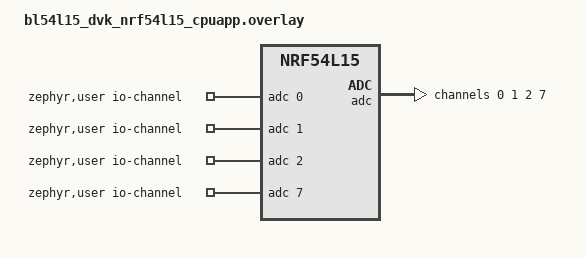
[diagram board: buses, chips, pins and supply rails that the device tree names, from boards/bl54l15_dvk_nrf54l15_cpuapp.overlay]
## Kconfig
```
# Copyright (c) 2024 Centro de Inovacao EDGE.
# SPDX-License-Identifier: Apache-2.0

config SEQUENCE_SAMPLES
	int "Number of samples to be made on the sequence for each channel."
	default 5

config SEQUENCE_RESOLUTION
	int "Set the resolution of the sequence readings."
	default 12

config SEQUENCE_32BITS_REGISTERS
	bool "ADC data sequences are on 32bits"

source "Kconfig.zephyr"
```

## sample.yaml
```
sample:
  name: ADC power shield sample
common:
  tags:
    - adc
  depends_on: adc
  filter: dt_alias_exists("adc0")
  harness: console
  timeout: 10
  harness_config:
    type: multi_line
    regex:
      - "ADC sequence reading \\[\\d+\\]:"
      - "- .+, channel \\d+, \\d+ sequence samples:"
      - "- - \\d+ (= \\d+mV)|(\\(value in mV not available\\))"
tests:
  sample.drivers.adc.adc_power_shield:
    integration_platforms:
      - nrf52840dk/nrf52840
  sample.drivers.adc.adc_power_shield.8bit:
    platform_allow:
      - nrf54h20dk/nrf54h20/cpuapp
      - nrf54l15dk/nrf54l15/cpuapp
      - nrf54lm20dk/nrf54lm20a/cpuapp
    integration_platforms:
      - nrf54l15dk/nrf54l15/cpuapp
    extra_configs:
      - CONFIG_SEQUENCE_RESOLUTION=8
```

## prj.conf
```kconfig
CONFIG_ADC=y
CONFIG_UART_CONSOLE=y
CONFIG_CONSOLE_SUBSYS=y
CONFIG_CONSOLE_GETCHAR=y
CONFIG_CONSOLE_GETCHAR_BUFSIZE=64
CONFIG_CONSOLE_PUTCHAR_BUFSIZE=512
```

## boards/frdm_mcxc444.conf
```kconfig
CONFIG_ADC_MCUX_ADC16_VREF_ALTERNATE=y
```

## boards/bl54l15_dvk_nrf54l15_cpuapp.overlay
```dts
/*
 * SPDX-License-Identifier: Apache-2.0
 *
 * Copyright (c) 2024 Nordic Semiconductor ASA
 * Copyright (c) 2025 Ezurio LLC
 */

/ {
	zephyr,user {
		io-channels = <&adc 0>, <&adc 1>, <&adc 2>, <&adc 7>;
	};
};

/ {
	aliases {
		adc0 = &adc;
	};
};

&adc {
	#address-cells = <1>;
	#size-cells = <0>;

	channel@0 {
		reg = <0>;
		zephyr,gain = "ADC_GAIN_1";
		zephyr,reference = "ADC_REF_INTERNAL";
		zephyr,acquisition-time = <ADC_ACQ_TIME_DEFAULT>;
		zephyr,input-positive = <NRF_SAADC_AIN4>; /* P1.11 */
		zephyr,resolution = <10>;
	};

	channel@1 {
		reg = <1>;
		zephyr,gain = "ADC_GAIN_1";
		zephyr,reference = "ADC_REF_INTERNAL";
		zephyr,acquisition-time = <ADC_ACQ_TIME_DEFAULT>;
		zephyr,input-positive = <NRF_SAADC_AIN2>; /* P1.06 */
		zephyr,resolution = <12>;
		zephyr,oversampling = <8>;
	};

	channel@2 {
		reg = <2>;
		zephyr,gain = "ADC_GAIN_1";
		zephyr,reference = "ADC_REF_INTERNAL";
		zephyr,acquisition-time = <ADC_ACQ_TIME_DEFAULT>;
		zephyr,input-positive = <NRF_SAADC_DVDD>; /* 0.9 V internal */
		zephyr,resolution = <12>;
		zephyr,oversampling = <8>;
	};

	channel@7 {
		reg = <7>;
		zephyr,gain = "ADC_GAIN_1";
		zephyr,reference = "ADC_REF_INTERNAL";
		zephyr,acquisition-time = <ADC_ACQ_TIME_DEFAULT>;
		zephyr,input-positive = <NRF_SAADC_AIN6>; /* P1.13 */
		zephyr,input-negative = <NRF_SAADC_AIN7>; /* P1.14 */
		zephyr,resolution = <12>;
	};
};
```

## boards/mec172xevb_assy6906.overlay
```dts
/*
 * Copyright (c) 2024 Centro de Inovacao EDGE
 *
 * SPDX-License-Identifier: Apache-2.0
 */

/ {
	aliases {
		adc0 = &adc0;
	};
};

&adc0 {
	#address-cells = <1>;
	#size-cells = <0>;

	channel@0 {
		reg = <0>;
		zephyr,gain = "ADC_GAIN_1";
		zephyr,reference = "ADC_REF_INTERNAL";
		zephyr,acquisition-time = <0>;
	};

	channel@3 {
		reg = <3>;
		zephyr,gain = "ADC_GAIN_1";
		zephyr,reference = "ADC_REF_INTERNAL";
		zephyr,acquisition-time = <0>;
	};
};
```

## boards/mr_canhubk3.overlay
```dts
/*
 * Copyright (c) 2024 Centro de Inovacao EDGE
 *
 * SPDX-License-Identifier: Apache-2.0
 */

#include <zephyr/dt-bindings/adc/adc.h>

/ {
	aliases {
		adc0 = &adc2;
	};
};

&adc2 {
	group-channel = "precision";
	status = "okay";
	#address-cells = <1>;
	#size-cells = <0>;

	channel@3 {
		reg = <3>;
		zephyr,gain = "ADC_GAIN_1";
		zephyr,reference = "ADC_REF_INTERNAL";
		zephyr,acquisition-time = <ADC_ACQ_TIME_DEFAULT>;
	};

	channel@4 {
		reg = <4>;
		zephyr,gain = "ADC_GAIN_1";
		zephyr,reference = "ADC_REF_INTERNAL";
		zephyr,acquisition-time = <ADC_ACQ_TIME_DEFAULT>;
	};
};
```

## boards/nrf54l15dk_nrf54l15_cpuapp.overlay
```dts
/*
 * SPDX-License-Identifier: Apache-2.0
 *
 * Copyright (c) 2024 Nordic Semiconductor ASA
 */

/ {
	aliases {
		adc0 = &adc;
	};
};

&adc {
	#address-cells = <1>;
	#size-cells = <0>;

	channel@0 {
		reg = <0>;
		zephyr,gain = "ADC_GAIN_1";
		zephyr,reference = "ADC_REF_INTERNAL";
		zephyr,acquisition-time = <ADC_ACQ_TIME_DEFAULT>;
		zephyr,input-positive = <NRF_SAADC_AIN4>; /* P1.11 */
	};

	channel@1 {
		reg = <1>;
		zephyr,gain = "ADC_GAIN_1";
		zephyr,reference = "ADC_REF_INTERNAL";
		zephyr,acquisition-time = <ADC_ACQ_TIME_DEFAULT>;
		zephyr,input-positive = <NRF_SAADC_AIN2>; /* P1.06 */
	};

	channel@2 {
		reg = <2>;
		zephyr,gain = "ADC_GAIN_1";
		zephyr,reference = "ADC_REF_INTERNAL";
		zephyr,acquisition-time = <ADC_ACQ_TIME_DEFAULT>;
		zephyr,input-positive = <NRF_SAADC_DVDD>; /* 0.9 V internal */
	};

	channel@7 {
		reg = <7>;
		zephyr,gain = "ADC_GAIN_1";
		zephyr,reference = "ADC_REF_INTERNAL";
		zephyr,acquisition-time = <ADC_ACQ_TIME_DEFAULT>;
		zephyr,input-positive = <NRF_SAADC_AIN6>; /* P1.13 */
		zephyr,input-negative = <NRF_SAADC_AIN7>; /* P1.14 */
	};
};
```

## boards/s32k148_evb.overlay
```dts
/*
 * Copyright (c) 2024 Accenture
 *
 * SPDX-License-Identifier: Apache-2.0
 */

#include <zephyr/dt-bindings/adc/adc.h>

/ {
	aliases {
		adc0 = &adc0;
	};
};

&pinctrl {
	adc0_default: adc0_default {
		group_1 {
			pinmux = <ADC0_SE28_PTC28>;
			drive-strength = "low";
		};
	};
};

&adc0 {
	#address-cells = <1>;
	#size-cells = <0>;
	pinctrl-0 = <&adc0_default>;
	pinctrl-names = "default";

	channel@1c {
		reg = <28>;
		zephyr,gain = "ADC_GAIN_1";
		zephyr,reference = "ADC_REF_INTERNAL";
		zephyr,acquisition-time = <ADC_ACQ_TIME_DEFAULT>;
		zephyr,resolution = <12>;
	};
};
```

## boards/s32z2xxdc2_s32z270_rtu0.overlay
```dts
/*
 * Copyright 2024 NXP
 *
 * SPDX-License-Identifier: Apache-2.0
 */

#include <zephyr/dt-bindings/adc/adc.h>

/ {
	aliases {
		adc0 = &sar_adc0;
	};

	zephyr,user {
		io-channels = <&sar_adc0 3>, <&sar_adc0 4>, <&sar_adc0 5>, <&sar_adc0 6>;
	};
};

&sar_adc0 {
	group-channel = "standard";
	status = "okay";
	#address-cells = <1>;
	#size-cells = <0>;

	channel@3 {
		reg = <3>;
		zephyr,gain = "ADC_GAIN_1";
		zephyr,reference = "ADC_REF_INTERNAL";
		zephyr,acquisition-time = <ADC_ACQ_TIME_DEFAULT>;
		zephyr,resolution = <12>;
	};

	channel@4 {
		reg = <4>;
		zephyr,gain = "ADC_GAIN_1";
		zephyr,reference = "ADC_REF_INTERNAL";
		zephyr,acquisition-time = <ADC_ACQ_TIME_DEFAULT>;
		zephyr,resolution = <12>;
	};

	channel@5 {
		reg = <5>;
		zephyr,gain = "ADC_GAIN_1";
		zephyr,reference = "ADC_REF_INTERNAL";
		zephyr,acquisition-time = <ADC_ACQ_TIME_DEFAULT>;
		zephyr,resolution = <12>;
	};

	channel@6 {
		reg = <6>;
		zephyr,gain = "ADC_GAIN_1";
		zephyr,reference = "ADC_REF_INTERNAL";
		zephyr,acquisition-time = <ADC_ACQ_TIME_DEFAULT>;
		zephyr,resolution = <12>;
	};
};
```

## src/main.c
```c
/*
 * Copyright (c) 2024 Centro de Inovacao EDGE
 *
 * SPDX-License-Identifier: Apache-2.0
 */

#include <zephyr/drivers/adc.h>
#include <zephyr/kernel.h>
#include <zephyr/console/console.h>

/* ADC node from the devicetree. */
#define ADC_NODE DT_ALIAS(adc0)

/* Auxiliary macro to obtain channel vref, if available. */
#define CHANNEL_VREF(node_id) DT_PROP_OR(node_id, zephyr_vref_mv, 0)

/* Data of ADC device specified in devicetree. */
static const struct device *adc = DEVICE_DT_GET(ADC_NODE);

/* Data array of ADC channels for the specified ADC. */
static const struct adc_channel_cfg channel_cfgs[] = {
	DT_FOREACH_CHILD_SEP(ADC_NODE, ADC_CHANNEL_CFG_DT, (,))};

/* Data array of ADC channel voltage references. */
static uint32_t vrefs_mv[] = {DT_FOREACH_CHILD_SEP(ADC_NODE, CHANNEL_VREF, (,))};

/* Get the number of channels defined on the DTS. */
#define CHANNEL_COUNT ARRAY_SIZE(channel_cfgs)

int main(void)
{
	int err;
	uint32_t count = 0;
#ifdef CONFIG_SEQUENCE_32BITS_REGISTERS
	uint32_t channel_reading[CONFIG_SEQUENCE_SAMPLES][CHANNEL_COUNT];
#else
	uint16_t channel_reading[CONFIG_SEQUENCE_SAMPLES][CHANNEL_COUNT];
#endif

	/* Options for the sequence sampling. */
	const struct adc_sequence_options options = {
		.extra_samplings = CONFIG_SEQUENCE_SAMPLES - 1,
		.interval_us = 0,
	};

	/* Configure the sampling sequence to be made. */
	struct adc_sequence sequence = {
		.buffer = channel_reading,
		/* buffer size in bytes, not number of samples */
		.buffer_size = sizeof(channel_reading),
		.resolution = CONFIG_SEQUENCE_RESOLUTION,
		.options = &options,
	};

	console_init();

	if (!device_is_ready(adc)) {
		printf("ADC controller device %s not ready\n", adc->name);
		return 0;
	}

	/* Configure channels individually prior to sampling. */
	for (size_t i = 0U; i < CHANNEL_COUNT; i++) {
		sequence.channels |= BIT(channel_cfgs[i].channel_id);
		err = adc_channel_setup(adc, &channel_cfgs[i]);
		if (err < 0) {
			printf("Could not setup channel #%d (%d)\n", i, err);
			return 0;
		}
		if ((vrefs_mv[i] == 0) && (channel_cfgs[i].reference == ADC_REF_INTERNAL)) {
			vrefs_mv[i] = adc_ref_internal(adc);
		}
	}

	printf("\r\nadc power shield sample starts\n");

	while (1) {
		uint8_t c = console_getchar();

		k_msleep(100);

		/* print capacity when input is '\r'*/
		if (c == '\r') {
			console_putchar('\n');
			printf("==== start of adc features ===\n");
			printf("CHANNEL_COUNT: %d\n", CHANNEL_COUNT);
			printf("Resolution: %d\n", CONFIG_SEQUENCE_RESOLUTION);
			for (size_t channel_index = 0U; channel_index < CHANNEL_COUNT;
					channel_index++) {
				printf("\tchannel_id %d features:\n",
					channel_cfgs[channel_index].channel_id);
				if (channel_cfgs[channel_index].differential) {
					printf("\t - is diff mode\n");
				} else {
					printf("\t - is single mode\n");
				}
				printf("\t - verf is %d mv\n", vrefs_mv[channel_index]);
			}
			printf("==== end of adc features ===\n");
			continue;
		}

		printf("ADC sequence reading [%u]:\n", count++);

		err = adc_read(adc, &sequence);
		if (err < 0) {
			printf("Could not read (%d)\n", err);
			continue;
		}

		for (size_t channel_index = 0U; channel_index < CHANNEL_COUNT; channel_index++) {
			int32_t val_mv;

			printf("- %s, channel %" PRId32 ", %" PRId32
				 " sequence samples (diff = %d):\n",
				adc->name, channel_cfgs[channel_index].channel_id,
				CONFIG_SEQUENCE_SAMPLES, channel_cfgs[channel_index].differential);
			for (size_t sample_index = 0U; sample_index < CONFIG_SEQUENCE_SAMPLES;
			     sample_index++) {

				val_mv = channel_reading[sample_index][channel_index];

				printf("- - %" PRId32, val_mv);
				err = adc_raw_to_millivolts(vrefs_mv[channel_index],
							    channel_cfgs[channel_index].gain,
							    CONFIG_SEQUENCE_RESOLUTION, &val_mv);

				/* conversion to mV may not be supported, skip if not */
				if ((err < 0) || vrefs_mv[channel_index] == 0) {
					printf(" (value in mV not available)\n");
				} else {
					printf(" = %" PRId32 "mV\n", val_mv);
				}
			}
		}
		printf("==== end of reading ===\n");
	}

	return 0;
}
```
